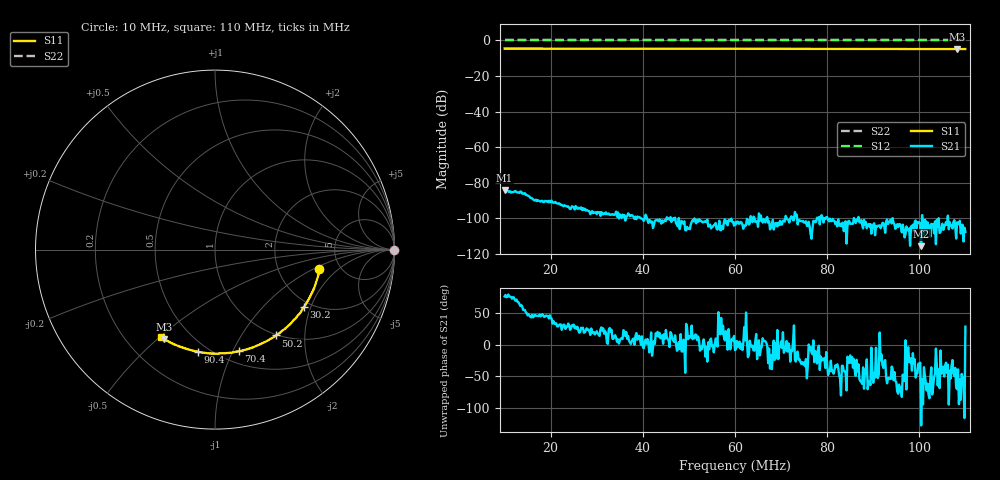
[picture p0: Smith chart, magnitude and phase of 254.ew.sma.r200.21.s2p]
! Anritsu VNA Master:  Model: MS2036C/10/77
! SN:  1601066
! /card0/usr/254.ew.sma.r200.21.s2p
! Existing Calibration Information:
! TYPE:  Current Settings,  Active Cal Settings
! TIME:  12/20/2017 01:04:03 PM,  12/20/2017 12:55:07 PM
! INTERNAL TEMP:  44.3 C,  44.3 C
! # POINTS:  501,  501
! START FREQ:  10.000 MHz,  10.000 MHz
! STOP FREQ:  110.000 MHz,  110.000 MHz
! SOURCE POWER:  High,  High
! IFBW:  100 Hz,  100 Hz
! AVG FACTOR:  1 ,  1
! REF PLANE 1:  0 mm,  0 mm
! REF PLANE 2:  0 mm,  0 mm
! CAL TYPE:  Full S11,  Full S11
! CAL METHOD:  SOLT,  SOLT
! CAL LINE TYPE:  Coax,  Coax
! DUT PORT 1:  N-Conn(F),  N-Conn(F)
! DUT PORT 2:  K-Conn(F),  K-Conn(F)
! CAL STATUS:  OK: Accuracy High,  --
# GHZ S DB R 50.0
! FREQ.GHZ  S11DB  S11A  S21DB  S21A  S12DB  S12A  S22DB  S22A
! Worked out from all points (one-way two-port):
!   501 points, 10 MHz to 110 MHz, reference 50 ohm
!   highest |S21| = -84.01 dB at 10 MHz (marker M1); lowest = -115.7 dB at 100.4 MHz (marker M2)
!   lowest |S11| = -4.8 dB at 108.2 MHz (marker M3), VSWR 3.69, Z = 17.7 - j26.2 ohm
!   |S11| at or under -10 dB: nowhere
!   |S22| runs from 0.0 to 0.0 dB; largest |S21 - S12| = 1
!   S11 on the Smith chart (normalised r, x): 10 MHz: 3.48, -1.18; 30.2 MHz: 1.84, -1.79; 50.2 MHz: 0.99, -1.44; 70.4 MHz: 0.61, -1.05; 90.4 MHz: 0.44, -0.75; 110 MHz: 0.35, -0.50
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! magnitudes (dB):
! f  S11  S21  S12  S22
! 10 MHz  -4.5  -84.0  0.0  0.0
! 26.8 MHz  -4.6  -95.3  0.0  0.0
! 29.2 MHz  -4.6  -97.1  0.0  0.0
! 30.2 MHz  -4.6  -96.4  0.0  0.0
! 33.2 MHz  -4.6  -97.8  0.0  0.0
! 35.6 MHz  -4.6  -97.9  0.0  0.0
! 37.2 MHz  -4.6  -98.8  0.0  0.0
! 38.8 MHz  -4.6  -99.0  0.0  0.0
! 40.6 MHz  -4.6  -98.0  0.0  0.0
! 43.4 MHz  -4.6  -101.7  0.0  0.0
! 50.2 MHz  -4.6  -106.1  0.0  0.0
! 51.6 MHz  -4.6  -102.8  0.0  0.0
! 53.2 MHz  -4.6  -101.9  0.0  0.0
! 60 MHz  -4.7  -102.3  0.0  0.0
! 70.4 MHz  -4.7  -101.4  0.0  0.0
! 76.8 MHz  -4.7  -105.9  0.0  0.0
! 84.6 MHz  -4.7  -101.6  0.0  0.0
! 90.4 MHz  -4.8  -109.5  0.0  0.0
! 93.4 MHz  -4.8  -102.0  0.0  0.0
! 100.4 MHz  -4.8  -115.7  0.0  0.0
! 108.2 MHz  -4.8  -102.3  0.0  0.0
! 110 MHz  -4.8  -107.6  0.0  0.0
